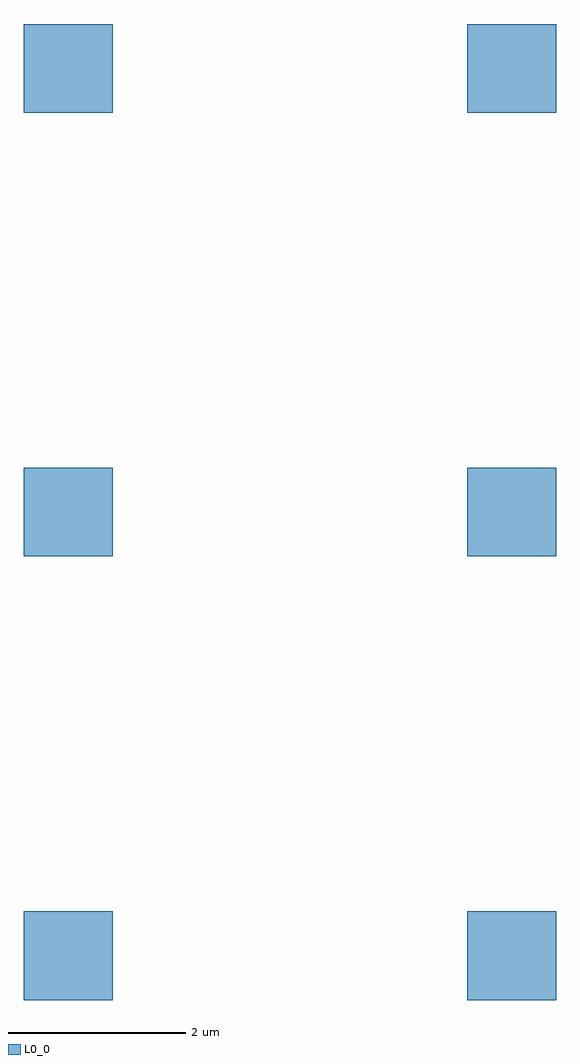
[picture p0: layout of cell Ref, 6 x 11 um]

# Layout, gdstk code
import gdstk
lib = gdstk.Library(unit=1e-6, precision=1e-09)
def R(c, l, rs):  # rectangles x0, y0, x1, y1
    for r in rs: c.add(gdstk.rectangle(r[:2], r[2:], *l))
L0_0 = (0, 0)

base = lib.new_cell('Base')
R(base, L0_0, [(0,0,1,1)])

ref = lib.new_cell('Ref')
r = gdstk.Reference(base, (0,0)); r.repetition = gdstk.Repetition(2, 3, v1=(5,0), v2=(0,5)); ref.add(r)

lib.write_gds('Ref.gds')
